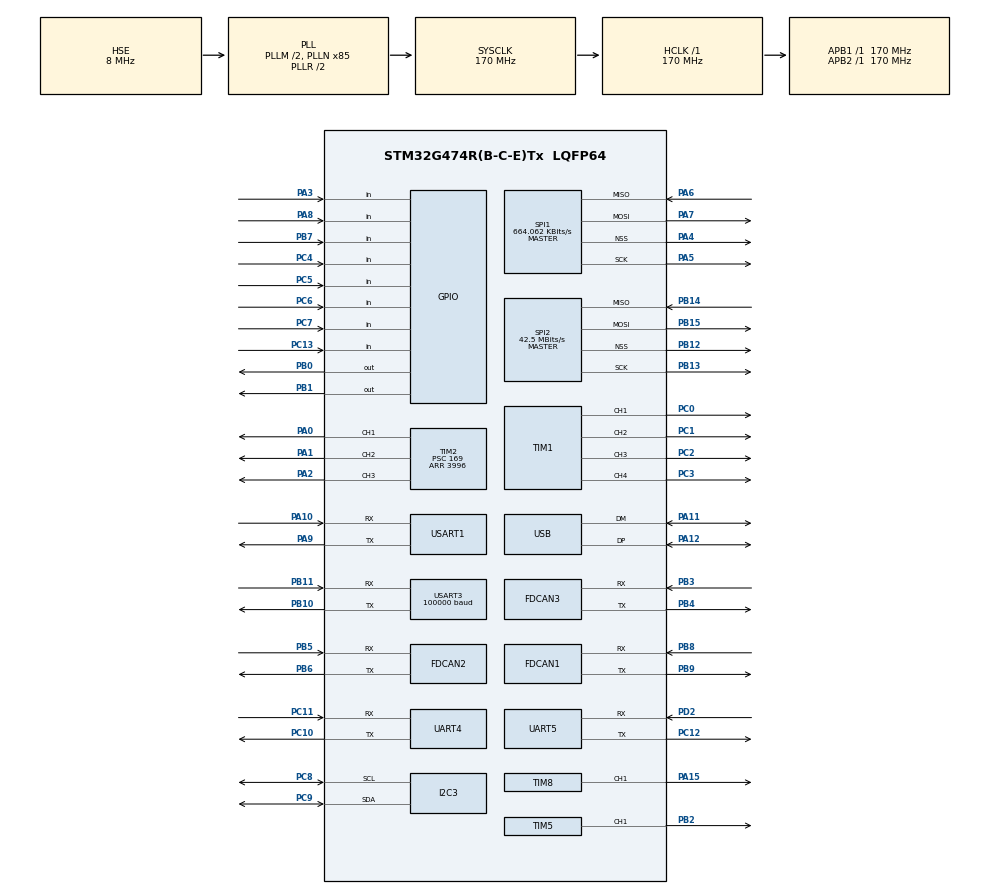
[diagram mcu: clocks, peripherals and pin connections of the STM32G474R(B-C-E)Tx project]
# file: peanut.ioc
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Dma.Request0=USART3_RX
Dma.Request1=USART1_RX
Dma.Request2=UART4_RX
Dma.Request3=UART5_RX
Dma.UART4_RX.2.Direction=DMA_PERIPH_TO_MEMORY
Dma.UART4_RX.2.EventEnable=DISABLE
Dma.UART4_RX.2.Instance=DMA1_Channel4
Dma.UART4_RX.2.MemDataAlignment=DMA_MDATAALIGN_BYTE
Dma.UART4_RX.2.MemInc=DMA_MINC_ENABLE
Dma.UART4_RX.2.Mode=DMA_NORMAL
Dma.UART4_RX.2.PeriphDataAlignment=DMA_PDATAALIGN_BYTE
Dma.UART4_RX.2.PeriphInc=DMA_PINC_DISABLE
Dma.UART4_RX.2.Polarity=HAL_DMAMUX_REQ_GEN_RISING
Dma.UART4_RX.2.Priority=DMA_PRIORITY_LOW
Dma.UART4_RX.2.RequestNumber=1
Dma.UART4_RX.2.SignalID=NONE
Dma.UART4_RX.2.SyncEnable=DISABLE
Dma.UART4_RX.2.SyncPolarity=HAL_DMAMUX_SYNC_NO_EVENT
Dma.UART4_RX.2.SyncRequestNumber=1
Dma.UART4_RX.2.SyncSignalID=NONE
Dma.UART5_RX.3.Direction=DMA_PERIPH_TO_MEMORY
Dma.UART5_RX.3.EventEnable=DISABLE
Dma.UART5_RX.3.Instance=DMA1_Channel5
Dma.UART5_RX.3.MemDataAlignment=DMA_MDATAALIGN_BYTE
Dma.UART5_RX.3.MemInc=DMA_MINC_ENABLE
Dma.UART5_RX.3.Mode=DMA_NORMAL
Dma.UART5_RX.3.PeriphDataAlignment=DMA_PDATAALIGN_BYTE
Dma.UART5_RX.3.PeriphInc=DMA_PINC_DISABLE
Dma.UART5_RX.3.Polarity=HAL_DMAMUX_REQ_GEN_RISING
Dma.UART5_RX.3.Priority=DMA_PRIORITY_LOW
Dma.UART5_RX.3.RequestNumber=1
Dma.UART5_RX.3.SignalID=NONE
Dma.UART5_RX.3.SyncEnable=DISABLE
Dma.UART5_RX.3.SyncPolarity=HAL_DMAMUX_SYNC_NO_EVENT
Dma.UART5_RX.3.SyncRequestNumber=1
Dma.UART5_RX.3.SyncSignalID=NONE
Dma.USART1_RX.1.Direction=DMA_PERIPH_TO_MEMORY
Dma.USART1_RX.1.EventEnable=DISABLE
Dma.USART1_RX.1.Instance=DMA1_Channel1
Dma.USART1_RX.1.MemDataAlignment=DMA_MDATAALIGN_BYTE
Dma.USART1_RX.1.MemInc=DMA_MINC_ENABLE
Dma.USART1_RX.1.Mode=DMA_NORMAL
Dma.USART1_RX.1.PeriphDataAlignment=DMA_PDATAALIGN_BYTE
Dma.USART1_RX.1.PeriphInc=DMA_PINC_DISABLE
Dma.USART1_RX.1.Polarity=HAL_DMAMUX_REQ_GEN_RISING
Dma.USART1_RX.1.Priority=DMA_PRIORITY_LOW
Dma.USART1_RX.1.RequestNumber=1
Dma.USART1_RX.1.SignalID=NONE
Dma.USART1_RX.1.SyncEnable=DISABLE
Dma.USART1_RX.1.SyncPolarity=HAL_DMAMUX_SYNC_NO_EVENT
Dma.USART1_RX.1.SyncRequestNumber=1
Dma.USART1_RX.1.SyncSignalID=NONE
Dma.USART3_RX.0.Direction=DMA_PERIPH_TO_MEMORY
Dma.USART3_RX.0.EventEnable=DISABLE
Dma.USART3_RX.0.Instance=DMA1_Channel3
Dma.USART3_RX.0.MemDataAlignment=DMA_MDATAALIGN_BYTE
Dma.USART3_RX.0.MemInc=DMA_MINC_ENABLE
Dma.USART3_RX.0.Mode=DMA_NORMAL
Dma.USART3_RX.0.PeriphDataAlignment=DMA_PDATAALIGN_BYTE
Dma.USART3_RX.0.PeriphInc=DMA_PINC_DISABLE
Dma.USART3_RX.0.Polarity=HAL_DMAMUX_REQ_GEN_RISING
Dma.USART3_RX.0.Priority=DMA_PRIORITY_HIGH
Dma.USART3_RX.0.RequestNumber=1
Dma.USART3_RX.0.SignalID=NONE
Dma.USART3_RX.0.SyncEnable=DISABLE
Dma.USART3_RX.0.SyncPolarity=HAL_DMAMUX_SYNC_NO_EVENT
Dma.USART3_RX.0.SyncRequestNumber=1
Dma.USART3_RX.0.SyncSignalID=NONE
FATFS._FS_RPATH=2
FATFS._MAX_SS=4096
FATFS._USE_LFN=1
FDCAN1.AutoRetransmission=ENABLE
FDCAN1.CalculateBaudRateNominal=1011904
FDCAN1.CalculateTimeBitNominal=988
FDCAN1.CalculateTimeQuantumNominal=70.58823529411765
FDCAN1.NominalPrescaler=12
FDCAN1.NominalTimeSeg1=10
FDCAN1.NominalTimeSeg2=3
FDCAN2.AutoRetransmission=ENABLE
FDCAN2.CalculateBaudRateNominal=1011904
FDCAN2.CalculateTimeBitNominal=988
FDCAN2.CalculateTimeQuantumNominal=70.58823529411765
FDCAN2.NominalPrescaler=12
FDCAN2.NominalTimeSeg1=10
FDCAN2.NominalTimeSeg2=3
FDCAN3.AutoRetransmission=ENABLE
FDCAN3.CalculateBaudRateNominal=1011904
FDCAN3.CalculateTimeBitNominal=988
FDCAN3.CalculateTimeQuantumNominal=70.58823529411765
FDCAN3.NominalPrescaler=12
FDCAN3.NominalTimeSeg1=10
FDCAN3.NominalTimeSeg2=3
I2C3.Timing=0x30A0A7FB
Mcu.Family=STM32G4
Mcu.Name=STM32G474R(B-C-E)Tx
Mcu.Package=LQFP64
NVIC.DMA1_Channel1_IRQn=true\:0\:0\:false\:false\:true\:false\:true\:true
NVIC.DMA1_Channel3_IRQn=true\:0\:0\:false\:false\:true\:false\:true\:true
NVIC.DMA1_Channel4_IRQn=true\:0\:0\:false\:false\:true\:false\:true\:true
NVIC.DMA1_Channel5_IRQn=true\:0\:0\:false\:false\:true\:false\:true\:true
NVIC.FDCAN1_IT0_IRQn=true\:0\:0\:false\:false\:true\:true\:true\:true
NVIC.FDCAN2_IT0_IRQn=true\:0\:0\:false\:false\:true\:true\:true\:true
NVIC.FDCAN3_IT0_IRQn=true\:0\:0\:false\:false\:true\:true\:true\:true
NVIC.PriorityGroup=NVIC_PRIORITYGROUP_4
NVIC.UART4_IRQn=true\:0\:0\:false\:false\:true\:true\:true\:true
NVIC.UART5_IRQn=true\:0\:0\:false\:false\:true\:true\:true\:true
NVIC.USART1_IRQn=true\:0\:0\:false\:false\:true\:true\:true\:true
NVIC.USART3_IRQn=true\:0\:0\:false\:false\:true\:true\:true\:true
PA0.Signal=S_TIM2_CH1
PA1.Signal=S_TIM2_CH2
PA10.Mode=Asynchronous
PA10.Signal=USART1_RX
PA11.Mode=Device
PA11.Signal=USB_DM
PA12.Mode=Device
PA12.Signal=USB_DP
PA13.Mode=Serial_Wire
PA13.Signal=SYS_JTMS-SWDIO
PA14.Mode=Serial_Wire
PA14.Signal=SYS_JTCK-SWCLK
PA15.Signal=S_TIM8_CH1
PA2.Signal=S_TIM2_CH3
PA3.Signal=GPIO_Input
PA4.GPIO_Speed=GPIO_SPEED_FREQ_VERY_HIGH
PA4.Mode=NSS_Signal_Hard_Output
PA4.Signal=SPI1_NSS
PA5.GPIO_Speed=GPIO_SPEED_FREQ_VERY_HIGH
PA5.Mode=Full_Duplex_Master
PA5.Signal=SPI1_SCK
PA6.GPIO_Speed=GPIO_SPEED_FREQ_VERY_HIGH
PA6.Mode=Full_Duplex_Master
PA6.Signal=SPI1_MISO
PA7.GPIO_Speed=GPIO_SPEED_FREQ_VERY_HIGH
PA7.Mode=Full_Duplex_Master
PA7.Signal=SPI1_MOSI
PA8.Signal=GPIO_Input
PA9.Mode=Asynchronous
PA9.Signal=USART1_TX
PB0.Signal=GPIO_Output
PB1.Signal=GPIO_Output
PB10.Mode=Asynchronous
PB10.Signal=USART3_TX
PB11.Mode=Asynchronous
PB11.Signal=USART3_RX
PB12.Mode=NSS_Signal_Hard_Output
PB12.Signal=SPI2_NSS
PB13.Mode=Full_Duplex_Master
PB13.Signal=SPI2_SCK
PB14.Mode=Full_Duplex_Master
PB14.Signal=SPI2_MISO
PB15.Mode=Full_Duplex_Master
PB15.Signal=SPI2_MOSI
PB2.Signal=S_TIM5_CH1
PB3.Mode=FDCAN_Activate
PB3.Signal=FDCAN3_RX
PB4.Mode=FDCAN_Activate
PB4.Signal=FDCAN3_TX
PB5.Mode=FDCAN_Activate
PB5.Signal=FDCAN2_RX
PB6.Mode=FDCAN_Activate
PB6.Signal=FDCAN2_TX
PB7.Signal=GPIO_Input
PB8-BOOT0.Mode=FDCAN_Activate
PB8-BOOT0.Signal=FDCAN1_RX
PB9.Mode=FDCAN_Activate
PB9.Signal=FDCAN1_TX
PC0.Signal=S_TIM1_CH1
PC1.Signal=S_TIM1_CH2
PC10.Mode=Asynchronous
PC10.Signal=UART4_TX
PC11.Mode=Asynchronous
PC11.Signal=UART4_RX
PC12.Mode=Asynchronous
PC12.Signal=UART5_TX
PC13.Signal=GPIO_Input
PC2.Signal=S_TIM1_CH3
PC3.Signal=S_TIM1_CH4
PC4.Signal=GPIO_Input
PC5.Signal=GPIO_Input
PC6.Signal=GPIO_Input
PC7.Signal=GPIO_Input
PC8.Mode=I2C
PC8.Signal=I2C3_SCL
PC9.Mode=I2C
PC9.Signal=I2C3_SDA
PD2.Mode=Asynchronous
PD2.Signal=UART5_RX
PF0-OSC_IN.Mode=HSE-External-Oscillator
PF0-OSC_IN.Signal=RCC_OSC_IN
PF1-OSC_OUT.Mode=HSE-External-Oscillator
PF1-OSC_OUT.Signal=RCC_OSC_OUT
ProjectManager.HeapSize=0x200
ProjectManager.StackSize=0x400
ProjectManager.TargetToolchain=STM32CubeIDE
RCC.ADC12Freq_Value=170000000
RCC.ADC345Freq_Value=170000000
RCC.AHBFreq_Value=170000000
RCC.APB1Freq_Value=170000000
RCC.APB1TimFreq_Value=170000000
RCC.APB2Freq_Value=170000000
RCC.APB2TimFreq_Value=170000000
RCC.CK48CLockSelection=RCC_USBCLKSOURCE_HSI48
RCC.CortexFreq_Value=170000000
RCC.EXTERNAL_CLOCK_VALUE=12288000
RCC.HCLKFreq_Value=170000000
RCC.HSE_VALUE=8000000
RCC.HSI48_VALUE=48000000
RCC.HSI_VALUE=16000000
RCC.LSE_VALUE=32768
RCC.PLLM=RCC_PLLM_DIV2
RCC.PLLN=85
RCC.PLLSourceVirtual=RCC_PLLSOURCE_HSE
RCC.SYSCLKFreq_VALUE=170000000
RCC.SYSCLKSource=RCC_SYSCLKSOURCE_PLLCLK
RCC.USBFreq_Value=48000000
RCC.VCOOutputFreq_Value=340000000
SH.S_TIM1_CH1.0=TIM1_CH1,PWM Generation1 CH1
SH.S_TIM1_CH2.0=TIM1_CH2,PWM Generation2 CH2
SH.S_TIM1_CH3.0=TIM1_CH3,PWM Generation3 CH3
SH.S_TIM1_CH4.0=TIM1_CH4,PWM Generation4 CH4
SH.S_TIM2_CH1.0=TIM2_CH1,PWM Generation1 CH1
SH.S_TIM2_CH2.0=TIM2_CH2,PWM Generation2 CH2
SH.S_TIM2_CH3.0=TIM2_CH3,PWM Generation3 CH3
SH.S_TIM5_CH1.0=TIM5_CH1,PWM Generation1 CH1
SH.S_TIM8_CH1.0=TIM8_CH1,PWM Generation1 CH1
SPI1.BaudRatePrescaler=SPI_BAUDRATEPRESCALER_256
SPI1.CLKPhase=SPI_PHASE_2EDGE
SPI1.CLKPolarity=SPI_POLARITY_HIGH
SPI1.CRCCalculation=SPI_CRCCALCULATION_DISABLE
SPI1.CalculateBaudRate=664.062 KBits/s
SPI1.DataSize=SPI_DATASIZE_8BIT
SPI1.Direction=SPI_DIRECTION_2LINES
SPI1.Mode=SPI_MODE_MASTER
SPI1.VirtualNSS=VM_NSSHARD
SPI1.VirtualType=VM_MASTER
SPI2.BaudRatePrescaler=SPI_BAUDRATEPRESCALER_4
SPI2.CalculateBaudRate=42.5 MBits/s
SPI2.Direction=SPI_DIRECTION_2LINES
SPI2.Mode=SPI_MODE_MASTER
SPI2.VirtualNSS=VM_NSSHARD
SPI2.VirtualType=VM_MASTER
TIM1.Channel-PWM\ Generation1\ CH1=TIM_CHANNEL_1
TIM1.Channel-PWM\ Generation2\ CH2=TIM_CHANNEL_2
TIM1.Channel-PWM\ Generation3\ CH3=TIM_CHANNEL_3
TIM1.Channel-PWM\ Generation4\ CH4=TIM_CHANNEL_4
TIM2.AutoReloadPreload=TIM_AUTORELOAD_PRELOAD_ENABLE
TIM2.Channel-Output\ Compare4\ CH4=TIM_CHANNEL_4
TIM2.Channel-PWM\ Generation1\ CH1=TIM_CHANNEL_1
TIM2.Channel-PWM\ Generation2\ CH2=TIM_CHANNEL_2
TIM2.Channel-PWM\ Generation3\ CH3=TIM_CHANNEL_3
TIM2.PeriodNoDither=3996
TIM2.Prescaler=169
TIM2.PulseNoDither_3=3000
TIM5.Channel-PWM\ Generation1\ CH1=TIM_CHANNEL_1
TIM8.Channel-PWM\ Generation1\ CH1=TIM_CHANNEL_1
USART1.VirtualMode-Asynchronous=VM_ASYNC
USART3.BaudRate=100000
USART3.DataInvertParam=ADVFEATURE_DATAINV_ENABLE
USART3.Mode=MODE_RX
USART3.Parity=PARITY_EVEN
USART3.VirtualMode-Asynchronous=VM_ASYNC
VP_FATFS_VS_Generic.Mode=User_defined
VP_SYS_VS_DBSignals.Mode=DisableDeadBatterySignals
board=custom

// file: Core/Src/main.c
/* USER CODE BEGIN Header */
/**
  ******************************************************************************
  * @file           : main.c
  * @brief          : Main program body
  ******************************************************************************
  * @attention
  *
  * Copyright (c) 2023 STMicroelectronics.
  * All rights reserved.
  *
  * This software is licensed under terms that can be found in the LICENSE file
  * in the root directory of this software component.
  * If no LICENSE file comes with this software, it is provided AS-IS.
  *
  ******************************************************************************
  */
/* USER CODE END Header */
#include "main.h"
#include "dma.h"
#include "app_fatfs.h"
#include "fdcan.h"
#include "i2c.h"
#include "spi.h"
#include "tim.h"
#include "usart.h"
#include "usb.h"
#include "gpio.h"

/* USER CODE BEGIN Includes */
#include "bsp_can.h"
#include "stdio.h"
#include "bsp_motor.h"
/* USER CODE END Includes */

void SystemClock_Config(void);

/* USER CODE BEGIN 0 */
uint8_t rx_buffer_uart1[256];
uint8_t rx_buffer_uart4[256];
uint8_t rx_buffer_uart5[256];
char SPIFLASHPath[4];             /* 串行Flash逻辑设备路径 */
char SDPath[4];                   /* SD卡�?�辑设备路径 */

FATFS fs;													/* FatFs文件系统对象 */
FIL file;													/* 文件对象 */
FRESULT f_res;                    /* 文件操作结果 */
UINT fnum;            					  /* 文件成功读写数量 */
BYTE ReadBuffer[1024]={0};        /* 读缓冲区 */
BYTE WriteBuffer[]= "test test\n";/* 写缓冲区*/

extern void lsm6dsl_read_data_polling(void);
/* USER CODE END 0 */

int main(void)
{

  /* MCU Configuration--------------------------------------------------------*/

  /* Reset of all peripherals, Initializes the Flash interface and the Systick. */
  HAL_Init();

  /* Configure the system clock */
  SystemClock_Config();

  /* Initialize all configured peripherals */
  MX_GPIO_Init();
  MX_DMA_Init();
  MX_FDCAN1_Init();
  MX_FDCAN2_Init();
  MX_FDCAN3_Init();
  MX_SPI1_Init();
  MX_SPI2_Init();
  MX_TIM1_Init();
  MX_UART4_Init();
  MX_UART5_Init();
  MX_USART1_UART_Init();
  MX_USART3_UART_Init();
  MX_USB_PCD_Init();
  MX_TIM2_Init();
  MX_I2C3_Init();
  MX_TIM8_Init();
  MX_TIM5_Init();
  if (MX_FATFS_Init() != APP_OK) {
    Error_Handler();
  }
  /* USER CODE BEGIN 2 */
    HAL_TIM_PWM_Start(&htim2,TIM_CHANNEL_3);
    __HAL_TIM_SetCompare(&htim2, TIM_CHANNEL_3, 1000);
    init_can_filter(&hfdcan1);
    init_can_filter(&hfdcan2);
    init_can_filter(&hfdcan3);
    HAL_UARTEx_ReceiveToIdle_DMA(&huart1,rx_buffer_uart1,sizeof(rx_buffer_uart1));
    HAL_UARTEx_ReceiveToIdle_DMA(&huart4,rx_buffer_uart4,sizeof(rx_buffer_uart4));
    HAL_UARTEx_ReceiveToIdle_DMA(&huart5,rx_buffer_uart5,sizeof(rx_buffer_uart5));

  /* USER CODE END 2 */

  /* Infinite loop */
  while (1)
  {

    /* USER CODE BEGIN 3 */
      /* 注册�?个FatFS设备：SD�? */
//      if(FATFS_LinkDriver(&USER_Driver, SDPath) == 0)
      FATFS_LinkDriver(&USER_Driver, SDPath);
      {
          //在SD卡挂载文件系统，文件系统挂载时会对SD卡初始化
          f_res = f_mount(&fs,(TCHAR const*)SDPath,1);
//          printf_fatfs_error(f_res);
          /*----------------------- 格式化测�? ---------------------------*/
          /* 如果没有文件系统就格式化创建创建文件系统 */
          if(f_res == FR_NO_FILESYSTEM)
          {
              printf("no filesystem!!!!!!\r\n");
              /* 格式�?? */
              f_res=f_mkfs((TCHAR const*)SDPath,FM_FAT32,0,ReadBuffer,64);

              if(f_res == FR_OK)
              {
                  printf("successfully make filesystem\r\n");
                  /* 格式化后，先取消挂载 */
                  f_res = f_mount(NULL,(TCHAR const*)SDPath,1);
                  /* 重新挂载	*/
                  f_res = f_mount(&fs,(TCHAR const*)SDPath,1);
              }
              else
              {
                  printf("modify failed\r\n");
              }
          }
          else if(f_res!=FR_OK)
          {
              printf("mount error!!!(%d)\r\n",f_res);
              while (1);
//              printf_fatfs_error(f_res);
          }
          else
          {
              printf("mount success\r\n");
          }

          /*----------------------- 文件系统测试：写测试 -----------------------------*/
          /* 打开文件，如果文件不存在则创建它 */
          printf("file write test!!!!!\r\n");
          f_res = f_open(&file, "0:/test.txt",  FA_CREATE_ALWAYS|FA_WRITE );
          if ( f_res == FR_OK )
          {
              printf("open file success\r\n");
              /* 将指定存储区内容写入到文件内 */
              f_res=f_write(&file,WriteBuffer,sizeof(WriteBuffer),&fnum);
              if(f_res==FR_OK)
              {
                  printf("write file success :%d\r\n",fnum);
//                  printf("》向文件写入的数据为：\n%s\n",WriteBuffer);
              }
              else
              {
                  printf("write file failed(%d)\r\n",f_res);
              }
              /* 不再读写，关�?*/
              f_close(&file);
          }
          else
          {
              printf("[write test] open file failed reason:%d\r\n",f_res);
              while (1);

          }

          /*------------------- 文件系统测试：读测试 ------------------------------------*/
          printf("file read test!!!!\r\n");
          f_res = f_open(&file, "0:/FatFs_test.txt",  FA_OPEN_EXISTING |FA_READ);
          if(f_res == FR_OK)
          {
//              printf("》打�?文件成功。\n");
              f_res = f_read(&file, ReadBuffer, sizeof(ReadBuffer), &fnum);
              if(f_res==FR_OK)
              {
                  printf("read file success %d\r\n",fnum);
                  printf("read what? :\n%s \n", ReadBuffer);
              }
              else
              {
                  printf("read file failed(%d)\r\n",f_res);
              }
          }
          else
          {
              printf("open file failed(%d)\r\n",f_res);

          }
          /* 不再读写，关闭文�? */
          f_close(&file);

          /* 不再使用，取消挂�? */
          f_res = f_mount(NULL,(TCHAR const*)SDPath,1);
          FATFS_UnLinkDriver(SDPath);
          while (1);
      }

      /* 注销1个FatFS设备：SD*/
      FATFS_UnLinkDriver(SDPath);

//      lsm6dsl_read_data_polling();
  }
  /* USER CODE END 3 */
}

void SystemClock_Config(void)
{
  RCC_OscInitTypeDef RCC_OscInitStruct = {0};
  RCC_ClkInitTypeDef RCC_ClkInitStruct = {0};

  /** Configure the main internal regulator output voltage
  */
  HAL_PWREx_ControlVoltageScaling(PWR_REGULATOR_VOLTAGE_SCALE1_BOOST);

  /** Initializes the RCC Oscillators according to the specified parameters
  * in the RCC_OscInitTypeDef structure.
  */
  RCC_OscInitStruct.OscillatorType = RCC_OSCILLATORTYPE_HSI48|RCC_OSCILLATORTYPE_HSE;
  RCC_OscInitStruct.HSEState = RCC_HSE_ON;
  RCC_OscInitStruct.HSI48State = RCC_HSI48_ON;
  RCC_OscInitStruct.PLL.PLLState = RCC_PLL_ON;
  RCC_OscInitStruct.PLL.PLLSource = RCC_PLLSOURCE_HSE;
  RCC_OscInitStruct.PLL.PLLM = RCC_PLLM_DIV2;
  RCC_OscInitStruct.PLL.PLLN = 85;
  RCC_OscInitStruct.PLL.PLLP = RCC_PLLP_DIV2;
  RCC_OscInitStruct.PLL.PLLQ = RCC_PLLQ_DIV2;
  RCC_OscInitStruct.PLL.PLLR = RCC_PLLR_DIV2;
  if (HAL_RCC_OscConfig(&RCC_OscInitStruct) != HAL_OK)
  {
    Error_Handler();
  }

  /** Initializes the CPU, AHB and APB buses clocks
  */
  RCC_ClkInitStruct.ClockType = RCC_CLOCKTYPE_HCLK|RCC_CLOCKTYPE_SYSCLK
                              |RCC_CLOCKTYPE_PCLK1|RCC_CLOCKTYPE_PCLK2;
  RCC_ClkInitStruct.SYSCLKSource = RCC_SYSCLKSOURCE_PLLCLK;
  RCC_ClkInitStruct.AHBCLKDivider = RCC_SYSCLK_DIV1;
  RCC_ClkInitStruct.APB1CLKDivider = RCC_HCLK_DIV1;
  RCC_ClkInitStruct.APB2CLKDivider = RCC_HCLK_DIV1;

  if (HAL_RCC_ClockConfig(&RCC_ClkInitStruct, FLASH_LATENCY_4) != HAL_OK)
  {
    Error_Handler();
  }
}

void Error_Handler(void)
{
  __disable_irq();
  while (1)
  {
  }
}
